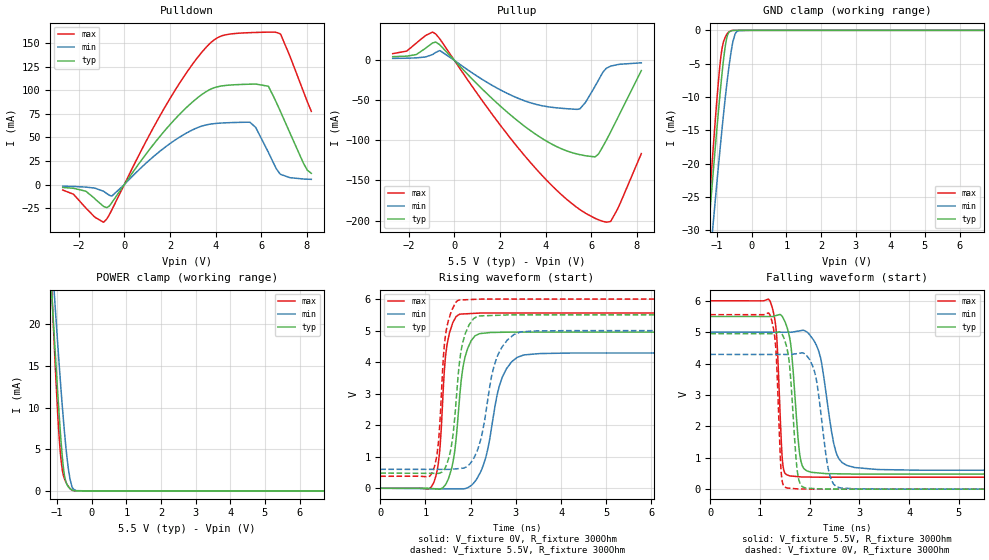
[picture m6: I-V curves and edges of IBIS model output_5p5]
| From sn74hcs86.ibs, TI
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|   output_5p5 Model
[Model]   output_5p5
Model_type   Output
Polarity   Non-Inverting
Vmeas = 2.75
Vref = 0
Cref = 2pF
Rref = 100000
|   typ   min   max
C_comp   0.801pF   0.769pF   0.801pF
| Where Nom  PVT is Nominal Process, 5.5V, 27C
|   Fast PVT is Strong Process,  6.0V, -55C
|   Slow PVT is Weak Process,   5.0V, 150C
[Voltage Range]   5.5   5   6
|Junction Temperature
[Temperature Range]   27   150   -55
[Pullup Reference]   5.5   5   6
[Pulldown Reference]   0   0   0
[Power Clamp Reference]   5.5   5   6
[GND Clamp Reference]   0   0   0
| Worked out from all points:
|   slope of the pulldown table from 0 to 0.825 V, typ, clamps not added: 29.3 ohm
|   slope of the pullup table from 0 to 0.825 V, typ, clamps not added: 33.6 ohm
|   GND clamp passes 1 mA (typ) near -0.72 V on its own axis
|   POWER clamp passes 1 mA (typ) near -0.74 V on its own axis
|   falling waveform, V_fixture 5.5V, R_fixture 300Ohm: 20-80 % time 147ps typ, 254ps min, 93.5ps max; typ from 5.5 V to 0.481 V
|   rising waveform, V_fixture 0V, R_fixture 300Ohm: 20-80 % time 219ps typ, 371ps min, 157ps max; typ from 0 V to 4.95 V
|   rising waveform, V_fixture 5.5V, R_fixture 300Ohm: 20-80 % time 217ps typ, 364ps min, 156ps max; typ from 0.481 V to 5.5 V
|   falling waveform, V_fixture 0V, R_fixture 300Ohm: 20-80 % time 131ps typ, 210ps min, 86.5ps max; typ from 4.95 V to 0 V
[Pulldown]
|   Voltage   I(typ)   I(min)   I(max)
-2.7V     -3.055mA   -1.706mA   -5.778mA
-1.686V   -7.04mA    -2.68mA    -24.81mA
-901.5mV  -23.23mA   -7.206mA   -39.81mA
-541.8mV  -18.99mA   -12.08mA   -26.61mA
2.325V    71.94mA    48.73mA    103.7mA
3.546V    97.82mA    62.97mA    144.3mA
4.309V    104.6mA    65.26mA    157.8mA
5.508V    106.3mA    65.99mA    160.9mA
6.314V    104.2mA    34.33mA    161.5mA
6.827V    78.5mA     11.4mA     159.8mA
7.862V    22.23mA    5.883mA    97.97mA
8.2V      11.95mA    5.526mA    77.53mA
[GND Clamp]
|   Voltage   I(typ)   I(min)   I(max)
-2.7V     -128.8mA   -126.7mA   -143.3mA
-1.37V    -37.73mA   -43.99mA   -36.6mA
-1.25V    -29.89mA   -36.83mA   -27.5mA
-1.119V   -21.55mA   -29.17mA   -17.93mA
-988.7mV  -13.58mA   -21.72mA   -9.11mA
-901.5mV  -8.626mA   -16.95mA   -4.285mA
-836.1mV  -5.272mA   -13.52mA   -2.102mA
-759.8mV  -2.144mA   -9.779mA   -950.2uA
-650.8mV  -239.3uA   -5.101mA   -180.5uA
-541.8mV  -18.61uA   -1.605mA   -12.31uA
-378.3mV  -181.5nA   -43.9uA    -26.91nA
8.2V      0A         0A         0A
[Pullup]
|   Voltage   I(typ)   I(min)   I(max)
-2.7V     4.483mA    2.329mA    8.237mA
-2.09V    5.115mA    2.555mA    11.35mA
-1.665V   7.128mA    2.966mA    21.42mA
-814.3mV  22.67mA    9.734mA    32.78mA
-629mV    19.08mA    12.01mA    26.41mA
2.02V     -57.18mA   -36.97mA   -81.05mA
3.851V    -97.59mA   -56.78mA   -143.8mA
5.486V    -117.6mA   -60.87mA   -185.9mA
6.173V    -120.6mA   -32.4mA    -197.2mA
6.511V    -107.8mA   -15.2mA    -200.9mA
6.859V    -89.22mA   -7.335mA   -201mA
8.2V      -12.85mA   -3.236mA   -116.5mA
[POWER Clamp]
|   Voltage   I(typ)   I(min)   I(max)
-2.7V     153.5mA    137.3mA    203.1mA
-1.207V   27.35mA    31.53mA    28.8mA
-1.098V   19.47mA    24.59mA    18.65mA
-1.054V   16.42mA    21.87mA    14.81mA
-966.9mV  10.6mA     16.6mA     7.948mA
-879.7mV  5.467mA    11.64mA    3.382mA
-814.3mV  2.584mA    8.244mA    1.77mA
-759.8mV  1.253mA    5.722mA    1.163mA
-672.6mV  471.3uA    2.518mA    502uA
-574.5mV  116.9uA    531.2uA    97.83uA
-29.5mV   0A         0A         0A
8.2V      0A         0A         0A
[Ramp]
R_load = 300
|   typ   min   max
dV/dt_r   2.97105/2.17555e-10   2.57479/3.67059e-10   3.33531/1.56007e-10
dV/dt_f   3.01142/1.46082e-10   2.63979/2.53109e-10   3.37171/9.34991e-11
[Falling Waveform]
V_fixture = 5.5V
V_fixture_min = 5V
V_fixture_max = 6V
R_fixture = 300Ohm
C_fixture = 0F
|   Time   V(typ)   V(min)   V(max)
0s        5.5V       5V         6V
1.2ns     5.498V     4.999V     5.998V
1.333ns   5.534V     4.999V     4.935V
1.459ns   5.47V      4.999V     790.4mV
1.596ns   4.83V      4.999V     423.3mV
1.802ns   1.082V     5.044V     392.6mV
2.03ns    538.6mV    4.85V      385mV
2.53ns    490.3mV    1.174V     380.9mV
2.892ns   482.2mV    694.2mV    380.9mV
15ns      481mV      600.3mV    380.5mV
[Rising Waveform]
V_fixture = 0V
V_fixture_min = 0V
V_fixture_max = 0V
R_fixture = 300Ohm
C_fixture = 0F
|   Time   V(typ)   V(min)   V(max)
0s        8.717uV    13uV       4.66uV
1.176ns   -12.93mV   -14.35mV   159.9mV
1.307ns   -28.44mV   -15.95mV   1.069V
1.473ns   193.6mV    -17.98mV   4.517V
1.638ns   1.082V     -19.99mV   5.34V
1.753ns   2.847V     -21.4mV    5.52V
2.097ns   4.836V     219.3mV    5.548V
2.696ns   4.947V     3.509V     5.558V
3.164ns   4.951V     4.223V     5.558V
15ns      4.952V     4.291V     5.559V
[Rising Waveform]
V_fixture = 5.5V
V_fixture_min = 5V
V_fixture_max = 6V
R_fixture = 300Ohm
C_fixture = 0F
|   Time   V(typ)   V(min)   V(max)
0s        481mV      600.3mV    380.5mV
1.156ns   473.5mV    599.4mV    515.8mV
1.283ns   472.7mV    599.3mV    1.408V
1.448ns   684.1mV    599.1mV    4.9V
1.596ns   1.55V      604.6mV    5.685V
1.737ns   3.786V     624.4mV    5.967V
2.064ns   5.379V     943.6mV    5.99V
2.581ns   5.485V     4.153V     6V
3.105ns   5.499V     4.958V     6V
15ns      5.5V       5V         6V
[Falling Waveform]
|Gnd
V_fixture = 0V
V_fixture_min = 0V
V_fixture_max = 0V
R_fixture = 300Ohm
C_fixture = 0F
|   Time   V(typ)   V(min)   V(max)
0s        4.952V     4.291V     5.559V
1.2ns     4.95V      4.29V      5.55V
1.318ns   4.979V     4.29V      4.488V
1.434ns   4.963V     4.29V      406.5mV
1.546ns   4.464V     4.29V      36.17mV
1.748ns   616.7mV    4.319V     9.858mV
1.915ns   38.68mV    4.291V     4.921mV
2.402ns   5.357mV    450.9mV    418.4uV
2.614ns   2.096mV    41.77mV    411.4uV
15ns      8.869uV    13.25uV    4.776uV
